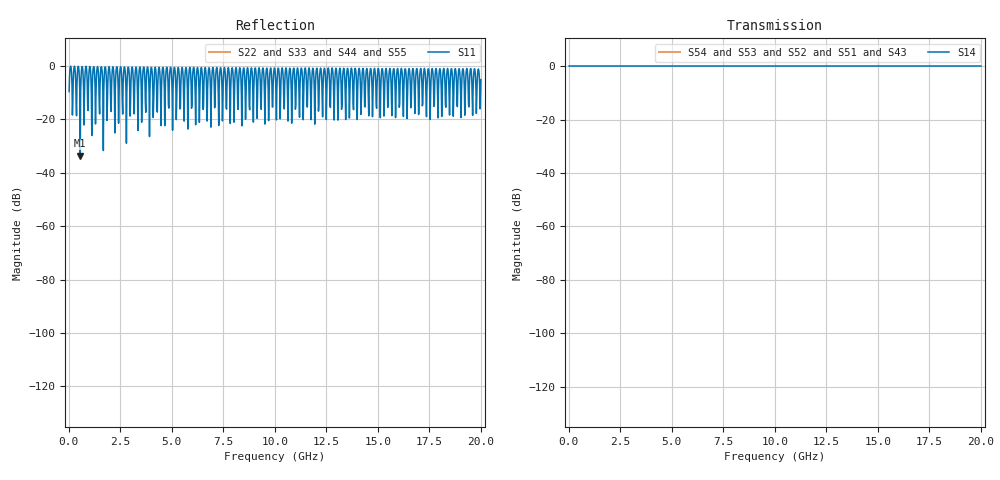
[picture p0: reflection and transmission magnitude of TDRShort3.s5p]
! File created by SignalIntegrity v1.3.3: Signal and Power Integrity Tools
! https://github.com/TeledyneLeCroy/SignalIntegrity
# MHz S MA R 50.0
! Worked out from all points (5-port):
!   1000 points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, 20 MHz to 20 GHz, reference 50 ohm
!   strongest paths, dB at 20 MHz, 5.02 GHz, 10.02 GHz, 15.02 GHz, 20 GHz:
!     S14: 0.0, 0.0, 0.0, 0.0, 0.0
!     S54: -, -, -, -, -
!     S53: -, -, -, -, -
!     S52: -, -, -, -, -
!     S51: -, -, -, -, -
!     S43: -, -, -, -, -
!   lowest |S11| = -33.6 dB at 560 MHz (marker M1), VSWR 1.04, Z = 51.7 + j1.28 ohm
!   |S11| at or under -10 dB: 165 MHz to 208.7 MHz (43.69 MHz wide, 23.4 % of centre); 350.7 MHz to 395.2 MHz (44.51 MHz wide, 11.9 % of centre); 538.4 MHz to 579.7 MHz (41.31 MHz wide, 7.39 % of centre)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
